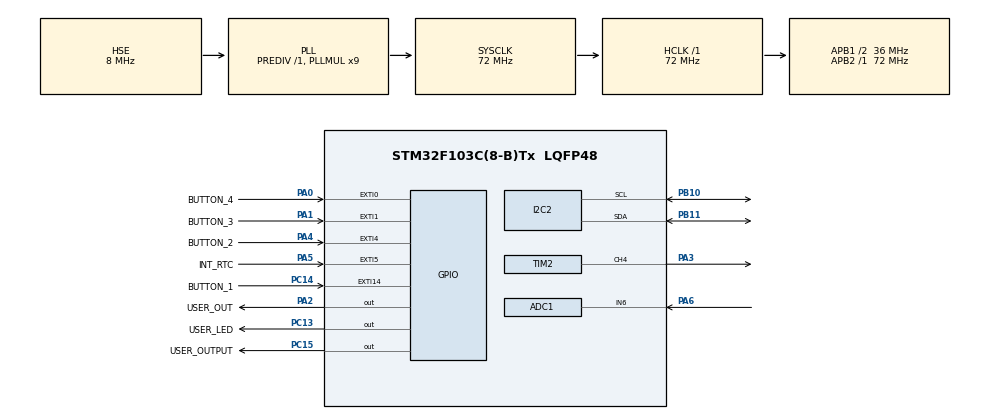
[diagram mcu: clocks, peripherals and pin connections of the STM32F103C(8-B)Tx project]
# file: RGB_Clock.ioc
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ADC1.Channel-0\#ChannelRegularConversion=ADC_CHANNEL_6
ADC1.NbrOfConversionFlag=1
ADC1.Rank-0\#ChannelRegularConversion=1
ADC1.SamplingTime-0\#ChannelRegularConversion=ADC_SAMPLETIME_1CYCLE_5
ADC1.master=1
Dma.Request0=TIM2_CH2/CH4
Dma.TIM2_CH2/CH4.0.Direction=DMA_MEMORY_TO_PERIPH
Dma.TIM2_CH2/CH4.0.Instance=DMA1_Channel7
Dma.TIM2_CH2/CH4.0.MemDataAlignment=DMA_MDATAALIGN_HALFWORD
Dma.TIM2_CH2/CH4.0.MemInc=DMA_MINC_ENABLE
Dma.TIM2_CH2/CH4.0.Mode=DMA_NORMAL
Dma.TIM2_CH2/CH4.0.PeriphDataAlignment=DMA_PDATAALIGN_HALFWORD
Dma.TIM2_CH2/CH4.0.PeriphInc=DMA_PINC_DISABLE
Dma.TIM2_CH2/CH4.0.Priority=DMA_PRIORITY_VERY_HIGH
FREERTOS.BinarySemaphores01=RTCTrigSem,Dynamic,NULL
FREERTOS.Queues01=buttonPress,3,uint8_t,0,Dynamic,NULL,NULL;readRTCQueue,1,QUEUE_RTC,0,Dynamic,NULL,NULL;newRTCTimeQueue,1,QUEUE_RTC_NEW_TIME,0,Dynamic,NULL,NULL;setValueQueue,1,QUEUE_SET_VALUE,0,Dynamic,NULL,NULL;Light,1,uint16_t,0,Dynamic,NULL,NULL
FREERTOS.Tasks01=LightSensorTask,24,128,StartDefaultTask,Default,NULL,Dynamic,NULL,NULL;DC2321Task,24,128,StartDC2321Task,Default,NULL,Static,DC2321TaskBuffer,DC2321TaskControlBlock;ButtonsTask,24,128,StartButtons,Default,NULL,Static,EncoderTaskBuffer,EncoderTaskControlBlock;ws2812bTask,24,400,Startws2812b,Default,NULL,Static,ws1228bTaskBuffer,ws1228bTaskControlBlock;LightTask,24,128,StartLightTask,Default,NULL,Dynamic,NULL,NULL
FREERTOS.configTOTAL_HEAP_SIZE=3000
FREERTOS.configUSE_NEWLIB_REENTRANT=1
Mcu.Family=STM32F1
Mcu.Name=STM32F103C(8-B)Tx
Mcu.Package=LQFP48
NVIC.DMA1_Channel7_IRQn=true\:5\:0\:false\:false\:true\:true\:false\:true\:true
NVIC.EXTI0_IRQn=true\:5\:0\:false\:false\:true\:true\:true\:true\:true
NVIC.EXTI15_10_IRQn=true\:5\:0\:true\:false\:true\:true\:true\:true\:true
NVIC.EXTI1_IRQn=true\:5\:0\:false\:false\:true\:true\:true\:true\:true
NVIC.EXTI4_IRQn=true\:5\:0\:false\:false\:true\:true\:true\:true\:true
NVIC.EXTI9_5_IRQn=true\:5\:0\:false\:false\:true\:true\:true\:true\:true
NVIC.PriorityGroup=NVIC_PRIORITYGROUP_4
NVIC.TIM2_IRQn=true\:5\:0\:false\:false\:true\:true\:true\:true\:true
NVIC.TIM3_IRQn=true\:5\:0\:false\:false\:true\:true\:true\:true\:true
NVIC.TIM4_IRQn=true\:15\:0\:false\:false\:true\:false\:false\:true\:true
NVIC.TimeBase=TIM4_IRQn
NVIC.TimeBaseIP=TIM4
PA0-WKUP.GPIO_Label=BUTTON_4
PA0-WKUP.GPIO_ModeDefaultEXTI=GPIO_MODE_IT_RISING
PA0-WKUP.Signal=GPXTI0
PA1.GPIO_Label=BUTTON_3
PA1.GPIO_ModeDefaultEXTI=GPIO_MODE_IT_RISING
PA1.Signal=GPXTI1
PA13.Mode=Serial_Wire
PA13.Signal=SYS_JTMS-SWDIO
PA14.Mode=Serial_Wire
PA14.Signal=SYS_JTCK-SWCLK
PA2.GPIO_Label=USER_OUT
PA2.Signal=GPIO_Output
PA3.GPIO_Speed=GPIO_SPEED_FREQ_HIGH
PA3.Signal=S_TIM2_CH4
PA4.GPIO_Label=BUTTON_2
PA4.Signal=GPXTI4
PA5.GPIO_Label=INT_RTC
PA5.Signal=GPXTI5
PA6.Signal=ADCx_IN6
PB10.Mode=I2C
PB10.Signal=I2C2_SCL
PB11.Mode=I2C
PB11.Signal=I2C2_SDA
PC13-TAMPER-RTC.GPIO_Label=USER_LED
PC13-TAMPER-RTC.GPIO_ModeDefaultOutputPP=GPIO_MODE_OUTPUT_PP
PC13-TAMPER-RTC.GPIO_PuPd=GPIO_NOPULL
PC13-TAMPER-RTC.PinState=GPIO_PIN_RESET
PC13-TAMPER-RTC.Signal=GPIO_Output
PC14-OSC32_IN.GPIO_Label=BUTTON_1
PC14-OSC32_IN.GPIO_ModeDefaultEXTI=GPIO_MODE_IT_FALLING
PC14-OSC32_IN.Signal=GPXTI14
PC15-OSC32_OUT.GPIO_Label=USER_OUTPUT
PC15-OSC32_OUT.Signal=GPIO_Output
PD0-OSC_IN.Mode=HSE-External-Oscillator
PD0-OSC_IN.Signal=RCC_OSC_IN
PD1-OSC_OUT.Mode=HSE-External-Oscillator
PD1-OSC_OUT.Signal=RCC_OSC_OUT
ProjectManager.HeapSize=0x200
ProjectManager.StackSize=0x400
ProjectManager.TargetToolchain=STM32CubeIDE
RCC.ADCPresc=RCC_ADCPCLK2_DIV6
RCC.AHBFreq_Value=72000000
RCC.APB1CLKDivider=RCC_HCLK_DIV2
RCC.APB1Freq_Value=36000000
RCC.APB1TimFreq_Value=72000000
RCC.APB2Freq_Value=72000000
RCC.APB2TimFreq_Value=72000000
RCC.HCLKFreq_Value=72000000
RCC.PLLMUL=RCC_PLL_MUL9
RCC.PLLSourceVirtual=RCC_PLLSOURCE_HSE
RCC.SYSCLKFreq_VALUE=72000000
RCC.SYSCLKSource=RCC_SYSCLKSOURCE_PLLCLK
RCC.USBFreq_Value=72000000
SH.ADCx_IN6.0=ADC1_IN6,IN6
SH.S_TIM2_CH4.0=TIM2_CH4,PWM Generation4 CH4
TIM2.Channel-PWM\ Generation4\ CH4=TIM_CHANNEL_4
TIM2.Period=150
TIM3.Period=2000-1
TIM3.Prescaler=720-1
VP_CRC_VS_CRC.Mode=CRC_Activate
VP_FREERTOS_VS_CMSIS_V2.Mode=CMSIS_V2
VP_SYS_VS_tim4.Mode=TIM4
VP_TIM2_VS_ClockSourceINT.Mode=Internal
VP_TIM3_VS_ClockSourceINT.Mode=Internal
board=custom

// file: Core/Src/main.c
/* USER CODE BEGIN Header */
/**
  ******************************************************************************
  * @file           : main.c
  * @brief          : Main program body
  ******************************************************************************
  * @attention
  *
  * Copyright (c) 2023 STMicroelectronics.
  * All rights reserved.
  *
  * This software is licensed under terms that can be found in the LICENSE file
  * in the root directory of this software component.
  * If no LICENSE file comes with this software, it is provided AS-IS.
  *
  ******************************************************************************
  */
/* USER CODE END Header */
#include "main.h"
#include "cmsis_os.h"

/* USER CODE BEGIN Includes */

#include<math.h>

#include <stdlib.h>

 #include <stdio.h>
#include "ds3231/DS3231.h"

#include "WS2812B/ws2812b.h"

#include "stdbool.h"
#include "task.h"
#include "queue.h"
#include "semphr.h"
/* USER CODE END Includes */

typedef StaticTask_t osStaticThreadDef_t;
/* USER CODE BEGIN PTD */

typedef struct
{
	uint8_t Sec;
	uint8_t Min;
	uint8_t Hour;
	uint8_t DaysOfWeek;
	uint8_t Date;
	uint8_t Month;
	uint8_t Year;
}QUEUE_RTC;

typedef struct
{
	uint8_t Sec;
	uint8_t Min;
	uint8_t Hour;
	uint8_t DaysOfWeek;
	uint8_t Date;
	uint8_t Month;
	uint8_t Year;
}QUEUE_RTC_NEW_TIME;

typedef struct
{
	uint8_t setValue;
	char name[4];
}QUEUE_SET_VALUE;

// RGB LEDs
extern uint8_t BYTESINPATTERN;
extern const bool digits_paterns[12][15];

//typedef struct{
//	uint8_t level_1 = 3;
//	uint8_t level_2 = 60;
//	uint8_t level_3 = 100;
//	uint8_t level_4 = 170;
//	uint8_t level_5 = 200;
//}level_brightness;

/* USER CODE END PTD */

/* USER CODE BEGIN PM */

///////////////////////////////////////////////////////////////////////////////////////////////////////////////
///////////////////////////////////////////////////////////////////////////////////////////////////////////////
///////////////////////////////////////////////////////////////////////////////////////////////////////////////
/*
	ЗАВДАННЯ:

*/
///////////////////////////////////////////////////////////////////////////////////////////////////////////////
///////////////////////////////////////////////////////////////////////////////////////////////////////////////
///////////////////////////////////////////////////////////////////////////////////////////////////////////////

/* USER CODE END PM */

ADC_HandleTypeDef hadc1;

CRC_HandleTypeDef hcrc;

I2C_HandleTypeDef hi2c2;

TIM_HandleTypeDef htim2;
TIM_HandleTypeDef htim3;
DMA_HandleTypeDef hdma_tim2_ch2_ch4;

/* Definitions for LightSensorTask */
osThreadId_t LightSensorTaskHandle;
const osThreadAttr_t LightSensorTask_attributes = {
  .name = "LightSensorTask",
  .stack_size = 128 * 4,
  .priority = (osPriority_t) osPriorityNormal,
};
/* Definitions for DC2321Task */
osThreadId_t DC2321TaskHandle;
uint32_t DC2321TaskBuffer[ 128 ];
osStaticThreadDef_t DC2321TaskControlBlock;
const osThreadAttr_t DC2321Task_attributes = {
  .name = "DC2321Task",
  .cb_mem = &DC2321TaskControlBlock,
  .cb_size = sizeof(DC2321TaskControlBlock),
  .stack_mem = &DC2321TaskBuffer[0],
  .stack_size = sizeof(DC2321TaskBuffer),
  .priority = (osPriority_t) osPriorityNormal,
};
/* Definitions for ButtonsTask */
osThreadId_t ButtonsTaskHandle;
uint32_t EncoderTaskBuffer[ 128 ];
osStaticThreadDef_t EncoderTaskControlBlock;
const osThreadAttr_t ButtonsTask_attributes = {
  .name = "ButtonsTask",
  .cb_mem = &EncoderTaskControlBlock,
  .cb_size = sizeof(EncoderTaskControlBlock),
  .stack_mem = &EncoderTaskBuffer[0],
  .stack_size = sizeof(EncoderTaskBuffer),
  .priority = (osPriority_t) osPriorityNormal,
};
/* Definitions for ws2812bTask */
osThreadId_t ws2812bTaskHandle;
uint32_t ws1228bTaskBuffer[ 400 ];
osStaticThreadDef_t ws1228bTaskControlBlock;
const osThreadAttr_t ws2812bTask_attributes = {
  .name = "ws2812bTask",
  .cb_mem = &ws1228bTaskControlBlock,
  .cb_size = sizeof(ws1228bTaskControlBlock),
  .stack_mem = &ws1228bTaskBuffer[0],
  .stack_size = sizeof(ws1228bTaskBuffer),
  .priority = (osPriority_t) osPriorityNormal,
};
/* Definitions for LightTask */
osThreadId_t LightTaskHandle;
const osThreadAttr_t LightTask_attributes = {
  .name = "LightTask",
  .stack_size = 128 * 4,
  .priority = (osPriority_t) osPriorityNormal,
};
/* Definitions for buttonPress */
osMessageQueueId_t buttonPressHandle;
const osMessageQueueAttr_t buttonPress_attributes = {
  .name = "buttonPress"
};
/* Definitions for readRTCQueue */
osMessageQueueId_t readRTCQueueHandle;
const osMessageQueueAttr_t readRTCQueue_attributes = {
  .name = "readRTCQueue"
};
/* Definitions for newRTCTimeQueue */
osMessageQueueId_t newRTCTimeQueueHandle;
const osMessageQueueAttr_t newRTCTimeQueue_attributes = {
  .name = "newRTCTimeQueue"
};
/* Definitions for setValueQueue */
osMessageQueueId_t setValueQueueHandle;
const osMessageQueueAttr_t setValueQueue_attributes = {
  .name = "setValueQueue"
};
/* Definitions for Light */
osMessageQueueId_t LightHandle;
const osMessageQueueAttr_t Light_attributes = {
  .name = "Light"
};
/* Definitions for RTCTrigSem */
osSemaphoreId_t RTCTrigSemHandle;
const osSemaphoreAttr_t RTCTrigSem_attributes = {
  .name = "RTCTrigSem"
};
/* USER CODE BEGIN PV */

// Create GLOBAL QUEUEs
QUEUE_RTC QUEUE_RTC_t;

int RandAlg_GetRandInt(int low, int high)
{
   return rand() % ((high + 1) - low) + low;
}

// -------------------------------------------------------------------------

/* USER CODE END PV */

void SystemClock_Config(void);
static void MX_GPIO_Init(void);
static void MX_DMA_Init(void);
static void MX_TIM2_Init(void);
static void MX_TIM3_Init(void);
static void MX_CRC_Init(void);
static void MX_I2C2_Init(void);
static void MX_ADC1_Init(void);
void StartDefaultTask(void *argument);
void StartDC2321Task(void *argument);
void StartButtons(void *argument);
void Startws2812b(void *argument);
void StartLightTask(void *argument);

/* USER CODE BEGIN PFP */

// For button debounce
//uint32_t previousMillis = 0;
//uint32_t currentMillis = 0;

// ------------------------------------------------------------------------------
// Callback from keys (buttons 1,2,3 and 4 and trom RTC INT input).
// Callback starts timer for make debounce buttons.
// Callback from RTS interrupt occurs every one second.
void HAL_GPIO_EXTI_Callback(uint16_t GPIO_Pin)
{
	static BaseType_t xHigherPriorityTaskWoken;

	if((GPIO_Pin == BUTTON_1_Pin) || (GPIO_Pin == BUTTON_2_Pin) || (GPIO_Pin == BUTTON_3_Pin) || (GPIO_Pin == BUTTON_4_Pin))
	{
		HAL_TIM_Base_Start_IT(&htim3);
	}
	if(GPIO_Pin == INT_RTC_Pin)
	{
		xSemaphoreGiveFromISR(RTCTrigSemHandle, &xHigherPriorityTaskWoken);
	}
}
// ------------------------------------------------------------------------------
uint8_t GetRand(uint8_t low, uint8_t high)
{
	return rand() % ((high + 1) - low) + low;
}
// ------------------------------------------------------------------------------
/*
@brief	Function generates random r, g and b, but sum all r, g and b equal sum.
 */
void generateRandNumbers(uint8_t *r, uint8_t *g, uint8_t *b, uint16_t sum)
{
	*r = (GetRand(0, sum))%(sum - 1) + 1;
	*g = (GetRand(0, sum))%(sum - *r);
	*b = (GetRand(0, sum))%(sum - *r - *g);
}
// ------------------------------------------------------------------------------
/*
@brief	Function chooses colors for time. Color depends on brightness and hour.
 */
void selectColors(uint8_t *r_result, uint8_t *g_result, uint8_t *b_result, uint16_t brightness, uint8_t hours)
{
	bool r = false;
	bool g = false;
	bool b = false;

	uint16_t total_channels = 3;

	uint16_t share = brightness/total_channels;
	uint16_t remainder = brightness % total_channels;

	switch(hours){
		case 6 ... 9:
			r = false, g = true, b = false;
			break;

		case 10 ... 13:
			r = false, g = true, b = true;
			break;

		case 14 ... 16:
			r = true, g = true, b = false;
			break;

		case 17 ... 19:
			r = true, g = false, b = true;
			break;

		case 20 ... 22:
			r = false, g = false, b = true;
			break;

		default:
			r = true, g = true, b = true;
			break;
	}

	*r_result = r ? share + remainder : 0;
	*g_result = g ? share + remainder : 0;
	*b_result = b ? share + remainder : 0;
}
// ------------------------------------------------------------------------------

/* USER CODE END PFP */

int main(void)
{

  /* MCU Configuration--------------------------------------------------------*/

  /* Reset of all peripherals, Initializes the Flash interface and the Systick. */
  HAL_Init();

  /* Configure the system clock */
  SystemClock_Config();

  /* Initialize all configured peripherals */
  MX_GPIO_Init();
  MX_DMA_Init();
  MX_TIM2_Init();
  MX_TIM3_Init();
  MX_CRC_Init();
  MX_I2C2_Init();
  MX_ADC1_Init();

  /* Init scheduler */
  osKernelInitialize();

  /* Create the semaphores(s) */
  /* creation of RTCTrigSem */
  RTCTrigSemHandle = osSemaphoreNew(1, 1, &RTCTrigSem_attributes);

  /* Create the queue(s) */
  /* creation of buttonPress */
  buttonPressHandle = osMessageQueueNew (3, sizeof(uint8_t), &buttonPress_attributes);

  /* creation of readRTCQueue */
  readRTCQueueHandle = osMessageQueueNew (1, sizeof(QUEUE_RTC), &readRTCQueue_attributes);

  /* creation of newRTCTimeQueue */
  newRTCTimeQueueHandle = osMessageQueueNew (1, sizeof(QUEUE_RTC_NEW_TIME), &newRTCTimeQueue_attributes);

  /* creation of setValueQueue */
  setValueQueueHandle = osMessageQueueNew (1, sizeof(QUEUE_SET_VALUE), &setValueQueue_attributes);

  /* creation of Light */
  LightHandle = osMessageQueueNew (1, sizeof(uint16_t), &Light_attributes);

  /* Create the thread(s) */
  /* creation of LightSensorTask */
  LightSensorTaskHandle = osThreadNew(StartDefaultTask, NULL, &LightSensorTask_attributes);

  /* creation of DC2321Task */
  DC2321TaskHandle = osThreadNew(StartDC2321Task, NULL, &DC2321Task_attributes);

  /* creation of ButtonsTask */
  ButtonsTaskHandle = osThreadNew(StartButtons, NULL, &ButtonsTask_attributes);

  /* creation of ws2812bTask */
  ws2812bTaskHandle = osThreadNew(Startws2812b, NULL, &ws2812bTask_attributes);

  /* creation of LightTask */
  LightTaskHandle = osThreadNew(StartLightTask, NULL, &LightTask_attributes);

  /* USER CODE BEGIN RTOS_THREADS */
  /* add threads, ... */

  HAL_GPIO_WritePin(GPIOC, GPIO_PIN_13, GPIO_PIN_SET);
  /* USER CODE END RTOS_THREADS */

  /* USER CODE BEGIN RTOS_EVENTS */
  HAL_TIM_Base_Start_IT(&htim3);

  /* add events, ... */
  /* USER CODE END RTOS_EVENTS */

  /* Start scheduler */
  osKernelStart();

  /* We should never get here as control is now taken by the scheduler */
  /* Infinite loop */
  while (1)
  {

  }
}

void SystemClock_Config(void)
{
  RCC_OscInitTypeDef RCC_OscInitStruct = {0};
  RCC_ClkInitTypeDef RCC_ClkInitStruct = {0};
  RCC_PeriphCLKInitTypeDef PeriphClkInit = {0};

  /** Initializes the RCC Oscillators according to the specified parameters
  * in the RCC_OscInitTypeDef structure.
  */
  RCC_OscInitStruct.OscillatorType = RCC_OSCILLATORTYPE_HSE;
  RCC_OscInitStruct.HSEState = RCC_HSE_ON;
  RCC_OscInitStruct.HSEPredivValue = RCC_HSE_PREDIV_DIV1;
  RCC_OscInitStruct.HSIState = RCC_HSI_ON;
  RCC_OscInitStruct.PLL.PLLState = RCC_PLL_ON;
  RCC_OscInitStruct.PLL.PLLSource = RCC_PLLSOURCE_HSE;
  RCC_OscInitStruct.PLL.PLLMUL = RCC_PLL_MUL9;
  if (HAL_RCC_OscConfig(&RCC_OscInitStruct) != HAL_OK)
  {
    Error_Handler();
  }

  /** Initializes the CPU, AHB and APB buses clocks
  */
  RCC_ClkInitStruct.ClockType = RCC_CLOCKTYPE_HCLK|RCC_CLOCKTYPE_SYSCLK
                              |RCC_CLOCKTYPE_PCLK1|RCC_CLOCKTYPE_PCLK2;
  RCC_ClkInitStruct.SYSCLKSource = RCC_SYSCLKSOURCE_PLLCLK;
  RCC_ClkInitStruct.AHBCLKDivider = RCC_SYSCLK_DIV1;
  RCC_ClkInitStruct.APB1CLKDivider = RCC_HCLK_DIV2;
  RCC_ClkInitStruct.APB2CLKDivider = RCC_HCLK_DIV1;

  if (HAL_RCC_ClockConfig(&RCC_ClkInitStruct, FLASH_LATENCY_2) != HAL_OK)
  {
    Error_Handler();
  }
  PeriphClkInit.PeriphClockSelection = RCC_PERIPHCLK_ADC;
  PeriphClkInit.AdcClockSelection = RCC_ADCPCLK2_DIV6;
  if (HAL_RCCEx_PeriphCLKConfig(&PeriphClkInit) != HAL_OK)
  {
    Error_Handler();
  }
}

static void MX_ADC1_Init(void)
{

  ADC_ChannelConfTypeDef sConfig = {0};

  /** Common config
  */
  hadc1.Instance = ADC1;
  hadc1.Init.ScanConvMode = ADC_SCAN_DISABLE;
  hadc1.Init.ContinuousConvMode = DISABLE;
  hadc1.Init.DiscontinuousConvMode = DISABLE;
  hadc1.Init.ExternalTrigConv = ADC_SOFTWARE_START;
  hadc1.Init.DataAlign = ADC_DATAALIGN_RIGHT;
  hadc1.Init.NbrOfConversion = 1;
  if (HAL_ADC_Init(&hadc1) != HAL_OK)
  {
    Error_Handler();
  }

  /** Configure Regular Channel
  */
  sConfig.Channel = ADC_CHANNEL_6;
  sConfig.Rank = ADC_REGULAR_RANK_1;
  sConfig.SamplingTime = ADC_SAMPLETIME_1CYCLE_5;
  if (HAL_ADC_ConfigChannel(&hadc1, &sConfig) != HAL_OK)
  {
    Error_Handler();
  }

}

static void MX_CRC_Init(void)
{

  hcrc.Instance = CRC;
  if (HAL_CRC_Init(&hcrc) != HAL_OK)
  {
    Error_Handler();
  }

}

static void MX_I2C2_Init(void)
{

  hi2c2.Instance = I2C2;
  hi2c2.Init.ClockSpeed = 100000;
  hi2c2.Init.DutyCycle = I2C_DUTYCYCLE_2;
  hi2c2.Init.OwnAddress1 = 0;
  hi2c2.Init.AddressingMode = I2C_ADDRESSINGMODE_7BIT;
  hi2c2.Init.DualAddressMode = I2C_DUALADDRESS_DISABLE;
  hi2c2.Init.OwnAddress2 = 0;
  hi2c2.Init.GeneralCallMode = I2C_GENERALCALL_DISABLE;
  hi2c2.Init.NoStretchMode = I2C_NOSTRETCH_DISABLE;
  if (HAL_I2C_Init(&hi2c2) != HAL_OK)
  {
    Error_Handler();
  }

}

static void MX_TIM2_Init(void)
{

  TIM_ClockConfigTypeDef sClockSourceConfig = {0};
  TIM_MasterConfigTypeDef sMasterConfig = {0};
  TIM_OC_InitTypeDef sConfigOC = {0};

  htim2.Instance = TIM2;
  htim2.Init.Prescaler = 0;
  htim2.Init.CounterMode = TIM_COUNTERMODE_UP;
  htim2.Init.Period = 150;
  htim2.Init.ClockDivision = TIM_CLOCKDIVISION_DIV1;
  htim2.Init.AutoReloadPreload = TIM_AUTORELOAD_PRELOAD_DISABLE;
  if (HAL_TIM_Base_Init(&htim2) != HAL_OK)
  {
    Error_Handler();
  }
  sClockSourceConfig.ClockSource = TIM_CLOCKSOURCE_INTERNAL;
  if (HAL_TIM_ConfigClockSource(&htim2, &sClockSourceConfig) != HAL_OK)
  {
    Error_Handler();
  }
  if (HAL_TIM_PWM_Init(&htim2) != HAL_OK)
  {
    Error_Handler();
  }
  sMasterConfig.MasterOutputTrigger = TIM_TRGO_RESET;
  sMasterConfig.MasterSlaveMode = TIM_MASTERSLAVEMODE_DISABLE;
  if (HAL_TIMEx_MasterConfigSynchronization(&htim2, &sMasterConfig) != HAL_OK)
  {
    Error_Handler();
  }
  sConfigOC.OCMode = TIM_OCMODE_PWM1;
  sConfigOC.Pulse = 0;
  sConfigOC.OCPolarity = TIM_OCPOLARITY_HIGH;
  sConfigOC.OCFastMode = TIM_OCFAST_DISABLE;
  if (HAL_TIM_PWM_ConfigChannel(&htim2, &sConfigOC, TIM_CHANNEL_4) != HAL_OK)
  {
    Error_Handler();
  }
  HAL_TIM_MspPostInit(&htim2);

}

static void MX_TIM3_Init(void)
{

  TIM_ClockConfigTypeDef sClockSourceConfig = {0};
  TIM_MasterConfigTypeDef sMasterConfig = {0};

  htim3.Instance = TIM3;
  htim3.Init.Prescaler = 720-1;
  htim3.Init.CounterMode = TIM_COUNTERMODE_UP;
  htim3.Init.Period = 2000-1;
  htim3.Init.ClockDivision = TIM_CLOCKDIVISION_DIV1;
  htim3.Init.AutoReloadPreload = TIM_AUTORELOAD_PRELOAD_DISABLE;
  if (HAL_TIM_Base_Init(&htim3) != HAL_OK)
  {
    Error_Handler();
  }
  sClockSourceConfig.ClockSource = TIM_CLOCKSOURCE_INTERNAL;
  if (HAL_TIM_ConfigClockSource(&htim3, &sClockSourceConfig) != HAL_OK)
  {
    Error_Handler();
  }
  sMasterConfig.MasterOutputTrigger = TIM_TRGO_RESET;
  sMasterConfig.MasterSlaveMode = TIM_MASTERSLAVEMODE_DISABLE;
  if (HAL_TIMEx_MasterConfigSynchronization(&htim3, &sMasterConfig) != HAL_OK)
  {
    Error_Handler();
  }

}

static void MX_DMA_Init(void)
{

  /* DMA controller clock enable */
  __HAL_RCC_DMA1_CLK_ENABLE();

  /* DMA interrupt init */
  /* DMA1_Channel7_IRQn interrupt configuration */
  HAL_NVIC_SetPriority(DMA1_Channel7_IRQn, 5, 0);
  HAL_NVIC_EnableIRQ(DMA1_Channel7_IRQn);

}

static void MX_GPIO_Init(void)
{
  GPIO_InitTypeDef GPIO_InitStruct = {0};

  /* GPIO Ports Clock Enable */
  __HAL_RCC_GPIOC_CLK_ENABLE();
  __HAL_RCC_GPIOD_CLK_ENABLE();
  __HAL_RCC_GPIOA_CLK_ENABLE();
  __HAL_RCC_GPIOB_CLK_ENABLE();

  /*Configure GPIO pin Output Level */
  HAL_GPIO_WritePin(GPIOC, USER_LED_Pin|USER_OUTPUT_Pin, GPIO_PIN_RESET);

  /*Configure GPIO pin Output Level */
  HAL_GPIO_WritePin(USER_OUT_GPIO_Port, USER_OUT_Pin, GPIO_PIN_RESET);

  /*Configure GPIO pins : USER_LED_Pin USER_OUTPUT_Pin */
  GPIO_InitStruct.Pin = USER_LED_Pin|USER_OUTPUT_Pin;
  GPIO_InitStruct.Mode = GPIO_MODE_OUTPUT_PP;
  GPIO_InitStruct.Pull = GPIO_NOPULL;
  GPIO_InitStruct.Speed = GPIO_SPEED_FREQ_LOW;
  HAL_GPIO_Init(GPIOC, &GPIO_InitStruct);

  /*Configure GPIO pin : BUTTON_1_Pin */
  GPIO_InitStruct.Pin = BUTTON_1_Pin;
  GPIO_InitStruct.Mode = GPIO_MODE_IT_FALLING;
  GPIO_InitStruct.Pull = GPIO_NOPULL;
  HAL_GPIO_Init(BUTTON_1_GPIO_Port, &GPIO_InitStruct);

  /*Configure GPIO pins : BUTTON_4_Pin BUTTON_3_Pin BUTTON_2_Pin INT_RTC_Pin */
  GPIO_InitStruct.Pin = BUTTON_4_Pin|BUTTON_3_Pin|BUTTON_2_Pin|INT_RTC_Pin;
  GPIO_InitStruct.Mode = GPIO_MODE_IT_RISING;
  GPIO_InitStruct.Pull = GPIO_NOPULL;
  HAL_GPIO_Init(GPIOA, &GPIO_InitStruct);

  /*Configure GPIO pin : USER_OUT_Pin */
  GPIO_InitStruct.Pin = USER_OUT_Pin;
  GPIO_InitStruct.Mode = GPIO_MODE_OUTPUT_PP;
  GPIO_InitStruct.Pull = GPIO_NOPULL;
  GPIO_InitStruct.Speed = GPIO_SPEED_FREQ_LOW;
  HAL_GPIO_Init(USER_OUT_GPIO_Port, &GPIO_InitStruct);

  /* EXTI interrupt init*/
  HAL_NVIC_SetPriority(EXTI0_IRQn, 5, 0);
  HAL_NVIC_EnableIRQ(EXTI0_IRQn);

  HAL_NVIC_SetPriority(EXTI1_IRQn, 5, 0);
  HAL_NVIC_EnableIRQ(EXTI1_IRQn);

  HAL_NVIC_SetPriority(EXTI4_IRQn, 5, 0);
  HAL_NVIC_EnableIRQ(EXTI4_IRQn);

  HAL_NVIC_SetPriority(EXTI9_5_IRQn, 5, 0);
  HAL_NVIC_EnableIRQ(EXTI9_5_IRQn);

  HAL_NVIC_SetPriority(EXTI15_10_IRQn, 5, 0);
  HAL_NVIC_EnableIRQ(EXTI15_10_IRQn);

}

void StartDefaultTask(void *argument)
{
  /* USER CODE BEGIN 5 */
  /* Infinite loop */

  for(;;)
  {
	  osDelay(1000);

  }
  /* USER CODE END 5 */
}

void StartDC2321Task(void *argument)
{
  /* USER CODE BEGIN StartDC2321Task */
  /* Infinite loop */

	QUEUE_RTC_NEW_TIME QUEUE_RTC_NEW_TIME_t;
	uint8_t set_intwrrupt = 0;

	osDelay(4000);

	time_i2c_write_single( DS3231_I2C_ADDRESS, 14, &set_intwrrupt);							// Make 1 Hz generation interrupt from RTC modu4le

	osDelay(100);

	for(;;)
	{
		if(xSemaphoreTake(RTCTrigSemHandle, 0) == pdTRUE )									// If was interrupt from RTC read data from RTC
		{
			uint8_t buff= 0;
			uint8_t time[10] = {0};

			for(uint8_t i = 0; i <= 8; i++)
			{
				ds3231_read(i, &buff);														// Read data from RTC module
				time[i] = buff;
			}
			// Use only hours and minutes for show on screen
			QUEUE_RTC_t.Min = time[1];
			QUEUE_RTC_t.Hour = time[2];
			xQueueSend(readRTCQueueHandle, &QUEUE_RTC_t, 0);								// нSend read data to ws2812b task
		}

		if(xQueueReceive(newRTCTimeQueueHandle, &QUEUE_RTC_NEW_TIME_t, 0) == pdTRUE )		// If was selected new time sabe it into RTC module.
		{
			ds3231_set(0, &QUEUE_RTC_NEW_TIME_t.Sec);
			ds3231_set(1, &QUEUE_RTC_NEW_TIME_t.Min);
			ds3231_set(2, &QUEUE_RTC_NEW_TIME_t.Hour);
		}
  }
  /* USER CODE END StartDC2321Task */
}

void StartButtons(void *argument)
{
  /* USER CODE BEGIN StartButtons */
  /* Infinite loop */
	osDelay(4000);

	QUEUE_SET_VALUE QUEUE_SET_VALUE_t;
	QUEUE_RTC_NEW_TIME QUEUE_RTC_NEW_TIME_t;

	uint8_t pressed_key = 0;
	char name[3] = {0};

	static int8_t setet_type = 1;

	static int8_t hour = 0;
	static int8_t minute = 0;
	static int8_t second = 0;

	static bool mode = false;

	enum{
		ENTER_BUTTON = 1,
		PLUS_BUTTON,
		MINUS_BUTTON,
		EXI_BUTTONT
	};

	for(;;)
	{
		if (xQueueReceive(buttonPressHandle , &pressed_key, 0 ) == pdTRUE)						// Read witch button was pressed (queue receiving from timer HAL_TIM_PeriodElapsedCallback)
		{
			if(pressed_key == ENTER_BUTTON)
			{
				mode = true;
			}

			if(mode == true )
			{
				osThreadSuspend(DC2321TaskHandle);												// Stop receive new time from RTC module

				switch(setet_type)
				{
					case 1:				// Set hours
						if(pressed_key == PLUS_BUTTON)
						{
							if(hour < 23)
							{
								hour++;
							}
							else
							{
								hour = 0;
							}

						}
						if(pressed_key == MINUS_BUTTON)
						{
							if(hour > 0)
							{
								hour--;
							}
							else
							{
								hour = 23;
							}
						}

						memset(QUEUE_SET_VALUE_t.name, 0, sizeof(QUEUE_SET_VALUE_t.name));
						sprintf(name, "%s","H:");

						QUEUE_SET_VALUE_t.setValue = hour;
						strcat(QUEUE_SET_VALUE_t.name, name);

						xQueueSend(setValueQueueHandle, &QUEUE_SET_VALUE_t, 0);

						if(pressed_key == EXI_BUTTONT)				// save data, and go to next settings
						{
							QUEUE_RTC_NEW_TIME_t.Hour = hour;
							setet_type++;
						}

					break;

					case 2:				// Set minutes
						if(pressed_key == PLUS_BUTTON)
							{
								if(minute < 59)
								{
									minute++;
								}
								else
								{
									minute = 0;
								}

							}
							if(pressed_key == MINUS_BUTTON)
							{
								if(minute > 0)
								{
									minute--;
								}
								else
								{
									minute = 59;
								}

							}

							memset(QUEUE_SET_VALUE_t.name, 0, sizeof(QUEUE_SET_VALUE_t.name));
							sprintf(name, "%s", "M:");

							QUEUE_SET_VALUE_t.setValue = minute;
							strcat(QUEUE_SET_VALUE_t.name, name);

							xQueueSend(setValueQueueHandle, &QUEUE_SET_VALUE_t, 0);

							if(pressed_key == EXI_BUTTONT)		// save data, and go to next settings
							{
								QUEUE_RTC_NEW_TIME_t.Min = minute;
								setet_type++;
							}
					break;

					case 3:				// Set seconds
						if(pressed_key == PLUS_BUTTON)
						{
							if(second < 59)
							{
								second++;
							}
							else
							{
								second = 0;
							}

						}
						if(pressed_key == MINUS_BUTTON)
						{
							if(second > 0)
							{
								second--;
							}
							else
							{
								second = 59;
							}
						}

						memset(QUEUE_SET_VALUE_t.name, 0, sizeof(QUEUE_SET_VALUE_t.name));
						sprintf(name, "%s", "S:");

						QUEUE_SET_VALUE_t.setValue = second;
						strcat(QUEUE_SET_VALUE_t.name, name);

						xQueueSend(setValueQueueHandle, &QUEUE_SET_VALUE_t, 0);

						if(pressed_key == EXI_BUTTONT)		// save data, and go to next settings
						{
							QUEUE_RTC_NEW_TIME_t.Sec = second;

							xQueueSend(newRTCTimeQueueHandle, &QUEUE_RTC_NEW_TIME_t, 0);
							osThreadResume(DC2321TaskHandle);

							mode = false;
							setet_type = 1;
						}
					break;
				}
			}

		}
		else
		{
			// If no data in the queue
			 osDelay(10);
		}
    osDelay(10);
  }
  /* USER CODE END StartButtons */
}

void Startws2812b(void *argument)
{
  /* USER CODE BEGIN Startws2812b */
  /* Infinite loop */

	QUEUE_RTC QUEUE_RTC_tt;
	QUEUE_SET_VALUE QUEUE_SET_VALUE_t;

	uint8_t first_time = 0;

	textAnimation();
	colorAnimation();

	for(;;)
	{
		uint16_t brightness = 0;

		uint8_t r_result = 0;
		uint8_t g_result = 0;
		uint8_t b_result = 0;

		if(xQueueReceive(readRTCQueueHandle, &QUEUE_RTC_tt, 0) == pdTRUE)								// Show current time
		{
			if(xQueueReceive(LightHandle, &brightness, 0)  == pdTRUE)									// Receive light data (from light sensor tssk)
			{
				if((QUEUE_RTC_tt.Hour >= 7) && (QUEUE_RTC_tt.Hour <= 22 ))								// if is the day hours, than brightness can't be less than 60
				{
					if(brightness <= 3 )							// If during day nature light is very low.
					{
						brightness = 60;							// Minimum brightness pear day
						selectColors(&r_result, &g_result, &b_result, brightness, QUEUE_RTC_tt.Hour);
					}
					else											// If light more than minimum light
					{
						selectColors(&r_result, &g_result, &b_result, brightness, QUEUE_RTC_tt.Hour);
					}
				}
				else																					// If is the night hours, then the brightness can be minimum
				{
					selectColors(&r_result, &g_result, &b_result, brightness, QUEUE_RTC_tt.Hour);
				}
				printTime(QUEUE_RTC_tt.Min, QUEUE_RTC_tt.Hour, r_result, g_result, b_result);
				first_time = 1;
			}
			else													// If no data in queue on the start
			{
				if(first_time == 0)
				{
					printTime(QUEUE_RTC_tt.Min, QUEUE_RTC_tt.Hour, 0, 200, 0);
				}
			}
		}

		if(xQueueReceive(setValueQueueHandle, &QUEUE_SET_VALUE_t, 0))            			// Show settings time
		{
			char buf[5] = {0};
			char num[3] = {0};
			char name[4] = {0};

			strcat(name, QUEUE_SET_VALUE_t.name);
			sprintf(num, "%d", QUEUE_SET_VALUE_t.setValue);

			strcat(buf, name);
			strcat(buf, num);

			cleanAllScreenBuffer();
			setStringOnScreenWithShift(0, buf, 4, 180, 180, 180);
			WS2812_Send();
		}
	}
  /* USER CODE END Startws2812b */
}

void StartLightTask(void *argument)
{
  /* USER CODE BEGIN StartLightTask */
  /* Infinite loop */

	osDelay(5000);

	uint8_t level_1 = 3;
	uint8_t level_2 = 60;
	uint8_t level_3 = 100;
	uint8_t level_4 = 130;
	uint8_t level_5 = 170;

	uint16_t brightnessLEDs = 0;
	int count = 0;
	int clobalLight = 0;

	for(;;)
	{
		brightnessLEDs = 0;

		taskENTER_CRITICAL();
		HAL_ADC_Start(&hadc1);
		uint32_t light = HAL_ADC_GetValue(&hadc1);
		taskEXIT_CRITICAL();

		if(count < 9)
		{
			count++;
			clobalLight = clobalLight + light;
		}
		else
		{
			light = clobalLight/10;

			clobalLight = 0;
			count = 0;

			if(light < 270)
			{
				brightnessLEDs = level_1;
			}
			if((light >= 270) && (light < 350))
			{
				brightnessLEDs = level_2;
			}
			if((light >= 350) && (light < 400))
			{
				brightnessLEDs = level_3;
			}
			if(light >= 400)
			{
				brightnessLEDs = level_5;
			}

//			if(light < 107)
//			{
//				brightnessLEDs = level_1;
//			}
//			if((light >= 107) && (light < 150))
//			{
//				brightnessLEDs = level_2;
//			}
//			if((light >= 150) && (light < 200))
//			{
//				brightnessLEDs = level_3;
//			}
//			if((light >= 200) && (light < 300))
//			{
//				brightnessLEDs = level_4;
//			}
//			if(light >= 300)
//			{
//				brightnessLEDs = level_5;
//			}

			xQueueSend(LightHandle, &brightnessLEDs, 0);
		}
      osDelay(100);
  }
  /* USER CODE END StartLightTask */
}

void HAL_TIM_PeriodElapsedCallback(TIM_HandleTypeDef *htim)
{
  if (htim->Instance == TIM4) {
    HAL_IncTick();
  }
  /* USER CODE BEGIN Callback 1 */
  if(htim == &htim3)
  {
	  BaseType_t xHigherPriorityTaskWoken;

  	uint8_t key_1 = 1;
  	uint8_t key_2 = 2;
  	uint8_t key_3 = 3;
  	uint8_t key_4 = 4;

  	if(HAL_GPIO_ReadPin(GPIOC, BUTTON_1_Pin) == GPIO_PIN_SET)
  	{
  		HAL_GPIO_TogglePin(GPIOC, USER_OUTPUT_Pin);
  		if((xQueueSendFromISR( buttonPressHandle, &key_1, &xHigherPriorityTaskWoken )) != 1)
  		{

  		}
  	}
  	else if(HAL_GPIO_ReadPin(GPIOA, BUTTON_2_Pin) == GPIO_PIN_SET)
  	{
  		HAL_GPIO_TogglePin(GPIOC, USER_OUTPUT_Pin);
  		if((xQueueSendFromISR( buttonPressHandle, &key_2, &xHigherPriorityTaskWoken )) != 1)
  		{

  		}
  	}
  	else if(HAL_GPIO_ReadPin(GPIOA, BUTTON_3_Pin) == GPIO_PIN_SET)
  	{
  		HAL_GPIO_TogglePin(GPIOC, USER_OUTPUT_Pin);
  		if((xQueueSendFromISR( buttonPressHandle, &key_3, &xHigherPriorityTaskWoken )) != 1)
  		{

  		}
  	}
  	else if(HAL_GPIO_ReadPin(GPIOA, BUTTON_4_Pin) == GPIO_PIN_SET)
  	{
  		HAL_GPIO_TogglePin(GPIOC, USER_OUTPUT_Pin);
  		if((xQueueSendFromISR( buttonPressHandle, &key_4, &xHigherPriorityTaskWoken )) != 1)
  		{

  		}
  	}
  	HAL_TIM_Base_Stop_IT(&htim3);
  	}
  /* USER CODE END Callback 1 */
}

void Error_Handler(void)
{
  __disable_irq();
  while (1)
  {
  }
}
